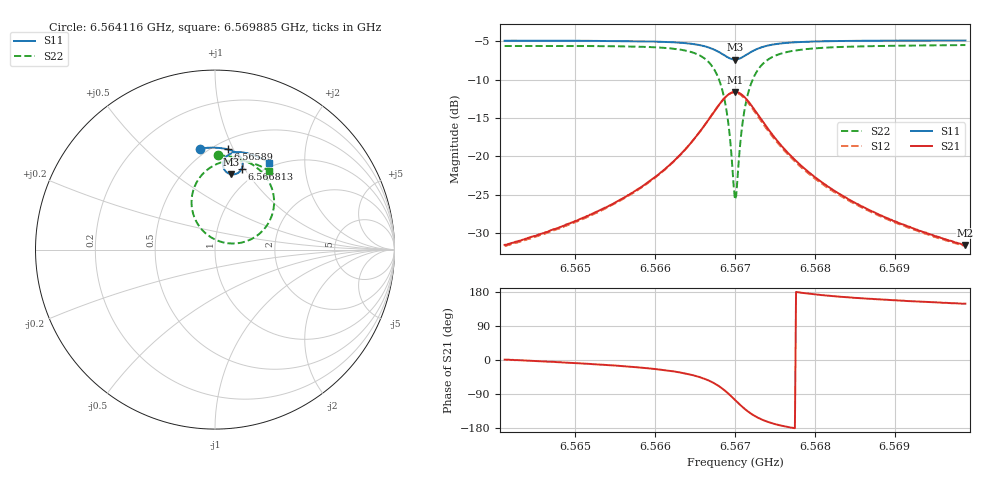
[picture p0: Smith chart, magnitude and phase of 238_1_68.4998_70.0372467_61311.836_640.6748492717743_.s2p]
#  HZ  S  RI  R  50.00
! Rohde & Schwarz Vector Network Analyzer
! Rohde-Schwarz,ZNB20-2Port,1311601062101988,3.16
! Created: UTC 3/20/2024, 4:59:13 PM
! freq[Hz]  re:S11  im:S11  re:S21  im:S21  re:S12  im:S12  re:S22  im:S22
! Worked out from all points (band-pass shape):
!   401 points, 6.564116 GHz to 6.569885 GHz, reference 50 ohm
!   highest |S21| = -11.57 dB at 6.567 GHz (marker M1); lowest = -31.6 dB at 6.569885 GHz (marker M2)
!   |S21| within 3 dB of the highest: 6.566711 GHz to 6.567289 GHz (577.8 kHz wide, 0.0088 % of centre)
!   lowest |S11| = -7.4 dB at 6.567 GHz (marker M3), VSWR 2.50, Z = 40.5 + j41.6 ohm
!   |S11| at or under -10 dB: nowhere
!   |S22| runs from -25.6 to -5.5 dB; largest |S21 - S12| = 0.012
!   S11 on the Smith chart (normalised r, x): 6.564116 GHz: 0.46, +0.76; 6.56589 GHz: 0.58, +0.95; 6.566813 GHz: 0.83, +0.97; 6.569885 GHz: 0.93, +1.34
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6.5641156e9  -0.0812 0.5631  0.0265 0.000467  0.026 2.13e-05  0.0175 0.525
6.5650819e9  -0.00298 0.568  0.0389 -0.00626  0.0382 -0.00676  0.1063 0.5145
6.5658896e9  0.07 0.5588  0.0619 -0.0244  0.061 -0.0251  0.2038 0.4766
6.5660483e9  0.0861 0.5538  0.0696 -0.0322  0.0686 -0.0332  0.2287 0.46
6.5663511e9  0.1195 0.537  0.0888 -0.0608  0.0872 -0.062  0.2842 0.404
6.5665675e9  0.1441 0.5113  0.1022 -0.1053  0.1 -0.1073  0.3234 0.3181
6.5667117e9  0.1544 0.4805  0.0984 -0.1589  0.0945 -0.1619  0.3239 0.2153
6.5668127e9  0.1491 0.4512  0.0721 -0.2094  0.0656 -0.2122  0.2788 0.1205
6.5668992e9  0.1287 0.4274  0.0201 -0.2483  0.0104 -0.2488  0.1844 0.0504
6.566928e9  0.1182 0.4222  -0.0036 -0.2559  -0.0141 -0.2551  0.1414 0.0376
6.5669857e9  0.094 0.4188  -0.0567 -0.2573  -0.0673 -0.2529  0.0474 0.0396
6.5670002e9  0.0877 0.4199  -0.0699 -0.2544  -0.0804 -0.2489  0.0245 0.0463
6.567029e9  0.0758 0.424  -0.0952 -0.2446  -0.1048 -0.2374  -0.0188 0.0662
6.5670867e9  0.0568 0.439  -0.1363 -0.2129  -0.143 -0.2031  -0.0859 0.1272
6.56713e9  0.0483 0.4536  -0.1563 -0.183  -0.1604 -0.1727  -0.1157 0.1816
6.5671876e9  0.0444 0.4738  -0.1688 -0.1433  -0.1702 -0.1333  -0.1305 0.2526
6.5672598e9  0.0483 0.4956  -0.1687 -0.1006  -0.1677 -0.0922  -0.1221 0.3264
6.5675194e9  0.0873 0.5345  -0.1265 -0.022  -0.1238 -0.0183  -0.0263 0.4569
6.5679665e9  0.1457 0.5425  -0.0753 0.00792  -0.0734 0.00911  0.0942 0.4969
6.5684424e9  0.1922 0.5336  -0.05 0.0135  -0.0489 0.014  0.1691 0.4921
6.5689328e9  0.2329 0.5197  -0.0363 0.0143  -0.0355 0.0146  0.2235 0.4769
6.5698847e9  0.3018 0.4848  -0.0226 0.0138  -0.0219 0.014  0.3031 0.4381
